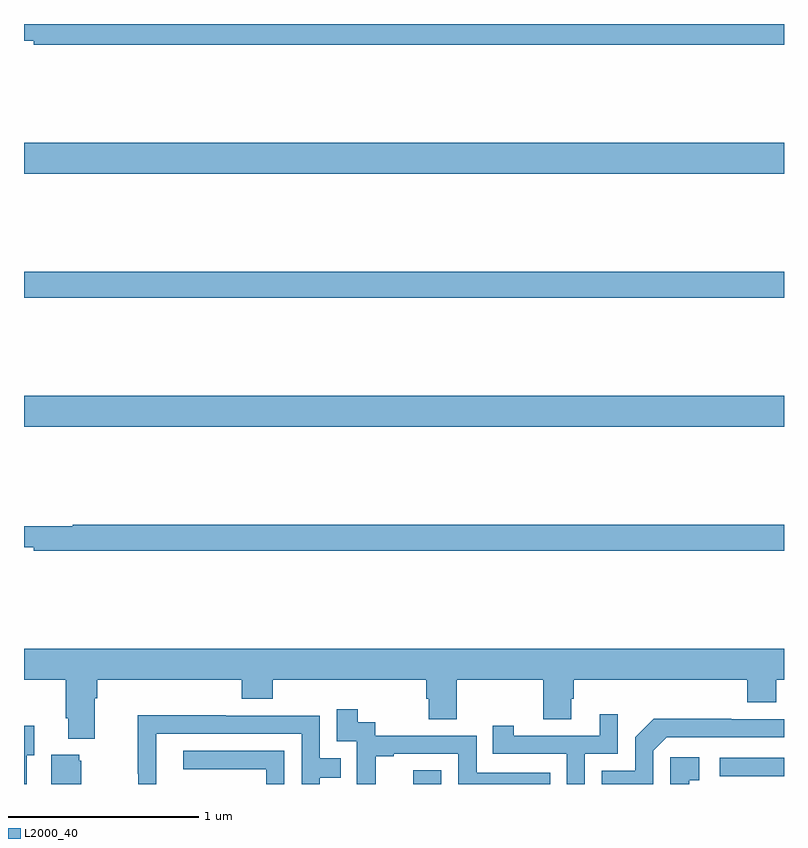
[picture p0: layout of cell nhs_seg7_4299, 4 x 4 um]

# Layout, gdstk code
import gdstk
lib = gdstk.Library(unit=1e-6, precision=1e-09)
def R(c, l, rs):  # rectangles x0, y0, x1, y1
    for r in rs: c.add(gdstk.rectangle(r[:2], r[2:], *l))
def P(c, l, *ps):  # polygons
    for p in ps: c.add(gdstk.Polygon(p, *l))
L2000_40 = (2000, 40)

nhs_seg7_4299 = lib.new_cell('nhs_seg7_4299')
R(nhs_seg7_4299, L2000_40, [(383.049,1068,383.196,1068.073), (384.663,1068.042,385,1068.138), (381,1069.88,385,1070.044), (381,1070.56,385,1070.696), (381,1071.212,385,1071.376)])
P(nhs_seg7_4299, L2000_40, [(385,1072),(381,1072),(381,1071.911),(381.052,1071.911),(381.052,1071.892),(385,1071.892)],
  [(385,1069.364),(381.257,1069.364),(381.257,1069.357),(381,1069.357),(381,1069.247),(381.052,1069.247),(381.052,1069.228),(385,1069.228)],
  [(381.373,1068.452),(381.386,1068.452),(381.386,1068.548),(382.145,1068.548),(382.145,1068.449),(382.31,1068.449),(382.31,1068.548),(383.117,1068.548),(383.117,1068.45),(383.129,1068.45),(383.129,1068.34),(383.277,1068.34),(383.277,1068.548),(383.734,1068.548),(383.734,1068.34),(383.881,1068.34),(383.881,1068.45),(383.894,1068.45),(383.894,1068.548),(384.806,1068.548),(384.806,1068.431),(384.958,1068.431),(384.958,1068.548),(385,1068.548),(385,1068.712),(381,1068.712),(381,1068.548),(381.221,1068.548),(381.221,1068.346),(381.233,1068.346),(381.233,1068.239),(381.373,1068.239)],
  [(382.85,1068.147),(382.945,1068.147),(382.945,1068.159),(383.286,1068.159),(383.286,1068),(383.771,1068),(383.771,1068.06),(383.382,1068.06),(383.382,1068.255),(382.848,1068.255),(382.848,1068.324),(382.756,1068.324),(382.756,1068.394),(382.647,1068.394),(382.647,1068.225),(382.752,1068.225),(382.752,1068),(382.85,1068)],
  [(383.952,1068.159),(384.126,1068.159),(384.126,1068.367),(384.029,1068.367),(384.029,1068.255),(383.578,1068.255),(383.578,1068.307),(383.467,1068.307),(383.467,1068.159),(383.856,1068.159),(383.856,1068),(383.952,1068)],
  [(381.696,1068.264),(382.461,1068.264),(382.461,1068),(382.557,1068),(382.557,1068.034),(382.667,1068.034),(382.667,1068.135),(382.557,1068.135),(382.557,1068.36),(382.061,1068.36),(382.061,1068.362),(381.598,1068.362),(381.598,1068.055),(381.6,1068.055),(381.6,1068),(381.696,1068)],
  [(384.312,1068.174),(384.384,1068.246),(385,1068.246),(385,1068.342),(384.722,1068.342),(384.722,1068.344),(384.314,1068.344),(384.216,1068.246),(384.216,1068.069),(384.042,1068.069),(384.042,1068),(384.312,1068)],
  [(381.015,1068.151),(381.055,1068.151),(381.055,1068.307),(381,1068.307),(381,1068),(381.015,1068)],
  [(382.371,1068.174),(381.837,1068.174),(381.837,1068.078),(382.275,1068.078),(382.275,1068),(382.371,1068)],
  [(381.301,1068.123),(381.29,1068.123),(381.29,1068.154),(381.143,1068.154),(381.143,1068),(381.301,1068)],
  [(384.5,1068.021),(384.553,1068.021),(384.553,1068.142),(384.402,1068.142),(384.402,1068),(384.5,1068)])

lib.write_gds('nhs_seg7_4299.gds')
